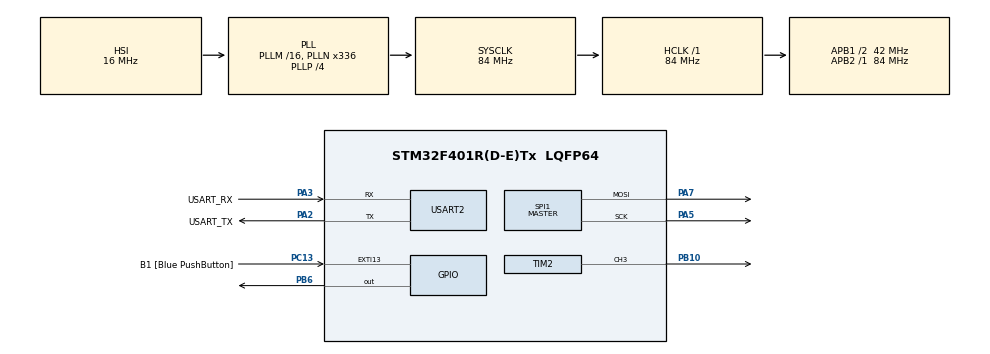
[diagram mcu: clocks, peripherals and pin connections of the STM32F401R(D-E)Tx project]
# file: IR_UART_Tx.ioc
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Mcu.Family=STM32F4
Mcu.Name=STM32F401R(D-E)Tx
Mcu.Package=LQFP64
NVIC.PriorityGroup=NVIC_PRIORITYGROUP_0
NVIC.SPI1_IRQn=true\:0\:0\:false\:false\:true\:true\:true
NVIC.TIM2_IRQn=true\:0\:0\:false\:false\:true\:true\:true
NVIC.USART2_IRQn=true\:0\:0\:false\:false\:true\:true\:true
PA13.GPIO_Label=TMS
PA13.Mode=Serial_Wire
PA13.Signal=SYS_JTMS-SWDIO
PA14.GPIO_Label=TCK
PA14.Mode=Serial_Wire
PA14.Signal=SYS_JTCK-SWCLK
PA2.GPIO_Label=USART_TX
PA2.GPIO_Mode=GPIO_MODE_AF_PP
PA2.GPIO_PuPd=GPIO_NOPULL
PA2.GPIO_Speed=GPIO_SPEED_FREQ_LOW
PA2.Mode=Asynchronous
PA2.Signal=USART2_TX
PA3.GPIO_Label=USART_RX
PA3.GPIO_Mode=GPIO_MODE_AF_PP
PA3.GPIO_PuPd=GPIO_NOPULL
PA3.GPIO_Speed=GPIO_SPEED_FREQ_LOW
PA3.Mode=Asynchronous
PA3.Signal=USART2_RX
PA5.Mode=TX_Only_Simplex_Unidirect_Master
PA5.Signal=SPI1_SCK
PA7.Mode=TX_Only_Simplex_Unidirect_Master
PA7.Signal=SPI1_MOSI
PB10.Signal=S_TIM2_CH3
PB3.GPIO_Label=SWO
PB3.Signal=SYS_JTDO-SWO
PB6.Signal=GPIO_Output
PC13-ANTI_TAMP.GPIO_Label=B1 [Blue PushButton]
PC13-ANTI_TAMP.GPIO_ModeDefaultEXTI=GPIO_MODE_IT_FALLING
PC13-ANTI_TAMP.GPIO_PuPd=GPIO_NOPULL
PC13-ANTI_TAMP.Signal=GPXTI13
PC14-OSC32_IN.Mode=LSE-External-Oscillator
PC14-OSC32_IN.Signal=RCC_OSC32_IN
PC15-OSC32_OUT.Mode=LSE-External-Oscillator
PC15-OSC32_OUT.Signal=RCC_OSC32_OUT
PH0\ -\ OSC_IN.Mode=HSE-External-Clock-Source
PH0\ -\ OSC_IN.Signal=RCC_OSC_IN
PH1\ -\ OSC_OUT.Mode=HSE-External-Clock-Source
PH1\ -\ OSC_OUT.Signal=RCC_OSC_OUT
ProjectManager.HeapSize=0x200
ProjectManager.StackSize=0x400
ProjectManager.TargetToolchain=STM32CubeIDE
RCC.48MHZClocksFreq_Value=48000000
RCC.AHBFreq_Value=84000000
RCC.APB1CLKDivider=RCC_HCLK_DIV2
RCC.APB1Freq_Value=42000000
RCC.APB1TimFreq_Value=84000000
RCC.APB2Freq_Value=84000000
RCC.APB2TimFreq_Value=84000000
RCC.CortexFreq_Value=84000000
RCC.HCLKFreq_Value=84000000
RCC.HSE_VALUE=8000000
RCC.HSI_VALUE=16000000
RCC.PLLN=336
RCC.PLLP=RCC_PLLP_DIV4
RCC.PLLQ=7
RCC.SYSCLKFreq_VALUE=84000000
RCC.SYSCLKSource=RCC_SYSCLKSOURCE_PLLCLK
RCC.VCOOutputFreq_Value=336000000
SH.S_TIM2_CH3.0=TIM2_CH3,PWM Generation3 CH3
SPI1.BaudRatePrescaler=SPI_BAUDRATEPRESCALER_4
SPI1.Direction=SPI_DIRECTION_2LINES
SPI1.Mode=SPI_MODE_MASTER
SPI1.VirtualType=VM_MASTER
TIM1.Period=100 - 1
TIM1.Prescaler=350 - 1
TIM2.Channel-PWM\ Generation3\ CH3=TIM_CHANNEL_3
TIM2.Period=10 - 1
TIM2.Prescaler=221 - 1
TIM2.Pulse-PWM\ Generation3\ CH3=5
USART2.VirtualMode=VM_ASYNC
VP_TIM1_VS_ClockSourceINT.Mode=Internal
VP_TIM2_VS_ClockSourceINT.Mode=Internal
board=NUCLEO-F401RE

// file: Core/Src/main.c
/* USER CODE BEGIN Header */
/**
  ******************************************************************************
  * @file           : main.c
  * @brief          : Main program body
  ******************************************************************************
  * @attention
  *
  * <h2><center>&copy; Copyright (c) 2021 STMicroelectronics.
  * All rights reserved.</center></h2>
  *
  * This software component is licensed by ST under BSD 3-Clause license,
  * the "License"; You may not use this file except in compliance with the
  * License. You may obtain a copy of the License at:
  *                        opensource.org/licenses/BSD-3-Clause
  *
  ******************************************************************************
  */
/* USER CODE END Header */
#include "main.h"

SPI_HandleTypeDef hspi1;

TIM_HandleTypeDef htim1;
TIM_HandleTypeDef htim2;

UART_HandleTypeDef huart2;

/* USER CODE BEGIN PV */
uint8_t bytes[100] = "A B C D E F G H I J K L M N O P Q R S T U V W X Y Z 0 1 2 3 4 5 6 7 8 9 ";
uint8_t byte = '0';
uint8_t bit;
uint8_t bitIndex = -1;
/* USER CODE END PV */

void SystemClock_Config(void);
static void MX_GPIO_Init(void);
static void MX_USART2_UART_Init(void);
static void MX_TIM2_Init(void);
static void MX_SPI1_Init(void);
static void MX_TIM1_Init(void);

/* USER CODE BEGIN 0 */
void HAL_TIM_PeriodElapsedCallback(TIM_HandleTypeDef *htim)
{
	if (htim == &htim1){
		if (bitIndex == -1) { //start bit
			HAL_TIM_PWM_Start(&htim2, TIM_CHANNEL_3);
		}
		else if (bitIndex >= 0 && bitIndex < 8) {
			bit = (byte >> bitIndex) & 1;
		}
			if(bit == 0){
				HAL_TIM_PWM_Start(&htim2, TIM_CHANNEL_3);
			}
			else {
				HAL_TIM_PWM_Stop(&htim2, TIM_CHANNEL_3);
			}
		}
		else if(bitIndex == 8){ //stop bit
			HAL_TIM_PWM_Stop(&htim2, TIM_CHANNEL_3);
		}
		else{
			bitIndex++;
		}
}

void IR_TX(){
	bitIndex = -1;
}
/* USER CODE END 0 */

int main(void)
{

  /* MCU Configuration--------------------------------------------------------*/

  /* Reset of all peripherals, Initializes the Flash interface and the Systick. */
  HAL_Init();

  /* Configure the system clock */
  SystemClock_Config();

  /* Initialize all configured peripherals */
  MX_GPIO_Init();
  MX_USART2_UART_Init();
  MX_TIM2_Init();
  MX_SPI1_Init();
  MX_TIM1_Init();
  /* USER CODE BEGIN 2 */
  HAL_TIM_Base_Start_IT(&htim1);

  /* USER CODE END 2 */

  /* Infinite loop */
  /* USER CODE BEGIN WHILE */
  while (1)
  {
	  IR_TX();
	  for (int i = 0; i < sizeof(bytes)/sizeof(byte); i++){
		  byte = bytes[i];
		  IR_TX();
		  HAL_Delay(500);
	  }
    /* USER CODE END WHILE */

  }
}

void SystemClock_Config(void)
{
  RCC_OscInitTypeDef RCC_OscInitStruct = {0};
  RCC_ClkInitTypeDef RCC_ClkInitStruct = {0};

  /** Configure the main internal regulator output voltage
  */
  __HAL_RCC_PWR_CLK_ENABLE();
  __HAL_PWR_VOLTAGESCALING_CONFIG(PWR_REGULATOR_VOLTAGE_SCALE2);
  /** Initializes the RCC Oscillators according to the specified parameters
  * in the RCC_OscInitTypeDef structure.
  */
  RCC_OscInitStruct.OscillatorType = RCC_OSCILLATORTYPE_HSI;
  RCC_OscInitStruct.HSIState = RCC_HSI_ON;
  RCC_OscInitStruct.HSICalibrationValue = RCC_HSICALIBRATION_DEFAULT;
  RCC_OscInitStruct.PLL.PLLState = RCC_PLL_ON;
  RCC_OscInitStruct.PLL.PLLSource = RCC_PLLSOURCE_HSI;
  RCC_OscInitStruct.PLL.PLLM = 16;
  RCC_OscInitStruct.PLL.PLLN = 336;
  RCC_OscInitStruct.PLL.PLLP = RCC_PLLP_DIV4;
  RCC_OscInitStruct.PLL.PLLQ = 7;
  if (HAL_RCC_OscConfig(&RCC_OscInitStruct) != HAL_OK)
  {
    Error_Handler();
  }
  /** Initializes the CPU, AHB and APB buses clocks
  */
  RCC_ClkInitStruct.ClockType = RCC_CLOCKTYPE_HCLK|RCC_CLOCKTYPE_SYSCLK
                              |RCC_CLOCKTYPE_PCLK1|RCC_CLOCKTYPE_PCLK2;
  RCC_ClkInitStruct.SYSCLKSource = RCC_SYSCLKSOURCE_PLLCLK;
  RCC_ClkInitStruct.AHBCLKDivider = RCC_SYSCLK_DIV1;
  RCC_ClkInitStruct.APB1CLKDivider = RCC_HCLK_DIV2;
  RCC_ClkInitStruct.APB2CLKDivider = RCC_HCLK_DIV1;

  if (HAL_RCC_ClockConfig(&RCC_ClkInitStruct, FLASH_LATENCY_2) != HAL_OK)
  {
    Error_Handler();
  }
}

static void MX_SPI1_Init(void)
{

  /* SPI1 parameter configuration*/
  hspi1.Instance = SPI1;
  hspi1.Init.Mode = SPI_MODE_MASTER;
  hspi1.Init.Direction = SPI_DIRECTION_2LINES;
  hspi1.Init.DataSize = SPI_DATASIZE_8BIT;
  hspi1.Init.CLKPolarity = SPI_POLARITY_LOW;
  hspi1.Init.CLKPhase = SPI_PHASE_1EDGE;
  hspi1.Init.NSS = SPI_NSS_SOFT;
  hspi1.Init.BaudRatePrescaler = SPI_BAUDRATEPRESCALER_4;
  hspi1.Init.FirstBit = SPI_FIRSTBIT_MSB;
  hspi1.Init.TIMode = SPI_TIMODE_DISABLE;
  hspi1.Init.CRCCalculation = SPI_CRCCALCULATION_DISABLE;
  hspi1.Init.CRCPolynomial = 10;
  if (HAL_SPI_Init(&hspi1) != HAL_OK)
  {
    Error_Handler();
  }

}

static void MX_TIM1_Init(void)
{

  TIM_ClockConfigTypeDef sClockSourceConfig = {0};
  TIM_MasterConfigTypeDef sMasterConfig = {0};

  htim1.Instance = TIM1;
  htim1.Init.Prescaler = 350 - 1;
  htim1.Init.CounterMode = TIM_COUNTERMODE_UP;
  htim1.Init.Period = 100 - 1;
  htim1.Init.ClockDivision = TIM_CLOCKDIVISION_DIV1;
  htim1.Init.RepetitionCounter = 0;
  htim1.Init.AutoReloadPreload = TIM_AUTORELOAD_PRELOAD_DISABLE;
  if (HAL_TIM_Base_Init(&htim1) != HAL_OK)
  {
    Error_Handler();
  }
  sClockSourceConfig.ClockSource = TIM_CLOCKSOURCE_INTERNAL;
  if (HAL_TIM_ConfigClockSource(&htim1, &sClockSourceConfig) != HAL_OK)
  {
    Error_Handler();
  }
  sMasterConfig.MasterOutputTrigger = TIM_TRGO_RESET;
  sMasterConfig.MasterSlaveMode = TIM_MASTERSLAVEMODE_DISABLE;
  if (HAL_TIMEx_MasterConfigSynchronization(&htim1, &sMasterConfig) != HAL_OK)
  {
    Error_Handler();
  }

}

static void MX_TIM2_Init(void)
{

  TIM_ClockConfigTypeDef sClockSourceConfig = {0};
  TIM_MasterConfigTypeDef sMasterConfig = {0};
  TIM_OC_InitTypeDef sConfigOC = {0};

  htim2.Instance = TIM2;
  htim2.Init.Prescaler = 221 - 1;
  htim2.Init.CounterMode = TIM_COUNTERMODE_UP;
  htim2.Init.Period = 10 - 1;
  htim2.Init.ClockDivision = TIM_CLOCKDIVISION_DIV1;
  htim2.Init.AutoReloadPreload = TIM_AUTORELOAD_PRELOAD_DISABLE;
  if (HAL_TIM_Base_Init(&htim2) != HAL_OK)
  {
    Error_Handler();
  }
  sClockSourceConfig.ClockSource = TIM_CLOCKSOURCE_INTERNAL;
  if (HAL_TIM_ConfigClockSource(&htim2, &sClockSourceConfig) != HAL_OK)
  {
    Error_Handler();
  }
  if (HAL_TIM_PWM_Init(&htim2) != HAL_OK)
  {
    Error_Handler();
  }
  sMasterConfig.MasterOutputTrigger = TIM_TRGO_RESET;
  sMasterConfig.MasterSlaveMode = TIM_MASTERSLAVEMODE_DISABLE;
  if (HAL_TIMEx_MasterConfigSynchronization(&htim2, &sMasterConfig) != HAL_OK)
  {
    Error_Handler();
  }
  sConfigOC.OCMode = TIM_OCMODE_PWM1;
  sConfigOC.Pulse = 5;
  sConfigOC.OCPolarity = TIM_OCPOLARITY_HIGH;
  sConfigOC.OCFastMode = TIM_OCFAST_DISABLE;
  if (HAL_TIM_PWM_ConfigChannel(&htim2, &sConfigOC, TIM_CHANNEL_3) != HAL_OK)
  {
    Error_Handler();
  }
  HAL_TIM_MspPostInit(&htim2);

}

static void MX_USART2_UART_Init(void)
{

  huart2.Instance = USART2;
  huart2.Init.BaudRate = 115200;
  huart2.Init.WordLength = UART_WORDLENGTH_8B;
  huart2.Init.StopBits = UART_STOPBITS_1;
  huart2.Init.Parity = UART_PARITY_NONE;
  huart2.Init.Mode = UART_MODE_TX_RX;
  huart2.Init.HwFlowCtl = UART_HWCONTROL_NONE;
  huart2.Init.OverSampling = UART_OVERSAMPLING_16;
  if (HAL_UART_Init(&huart2) != HAL_OK)
  {
    Error_Handler();
  }

}

static void MX_GPIO_Init(void)
{
  GPIO_InitTypeDef GPIO_InitStruct = {0};

  /* GPIO Ports Clock Enable */
  __HAL_RCC_GPIOC_CLK_ENABLE();
  __HAL_RCC_GPIOH_CLK_ENABLE();
  __HAL_RCC_GPIOA_CLK_ENABLE();
  __HAL_RCC_GPIOB_CLK_ENABLE();

  /*Configure GPIO pin Output Level */
  HAL_GPIO_WritePin(GPIOB, GPIO_PIN_6, GPIO_PIN_RESET);

  /*Configure GPIO pin : B1_Pin */
  GPIO_InitStruct.Pin = B1_Pin;
  GPIO_InitStruct.Mode = GPIO_MODE_IT_FALLING;
  GPIO_InitStruct.Pull = GPIO_NOPULL;
  HAL_GPIO_Init(B1_GPIO_Port, &GPIO_InitStruct);

  /*Configure GPIO pin : PB6 */
  GPIO_InitStruct.Pin = GPIO_PIN_6;
  GPIO_InitStruct.Mode = GPIO_MODE_OUTPUT_PP;
  GPIO_InitStruct.Pull = GPIO_NOPULL;
  GPIO_InitStruct.Speed = GPIO_SPEED_FREQ_LOW;
  HAL_GPIO_Init(GPIOB, &GPIO_InitStruct);

}

void Error_Handler(void)
{
  __disable_irq();
  while (1)
  {
  }
}

/************************ (C) COPYRIGHT STMicroelectronics *****END OF FILE****/
